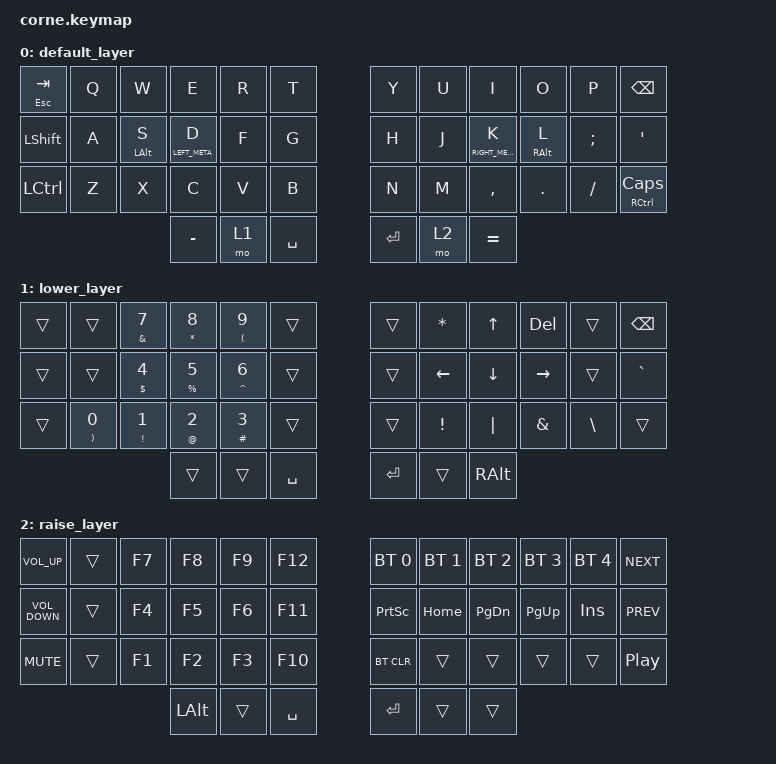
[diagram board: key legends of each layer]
/*
 * Copyright (c) 2020 The ZMK Contributors
 *
 * SPDX-License-Identifier: MIT
 */

#include <behaviors.dtsi>
#include <dt-bindings/zmk/bt.h>
#include <dt-bindings/zmk/keys.h>

/ {
    behaviors {
        HML: HML {
            compatible = "zmk,behavior-hold-tap";
            label = "HML";
            bindings = <&kp>, <&kp>;

            #binding-cells = <2>;
            tapping-term-ms = <200>;
            quick-tap-ms = <175>;
            flavor = "tap-preferred";
            hold-trigger-key-positions = <5 17 29 28 16 4 3 15 27 26 14 2 1 13 25 24 12 0 36 37 38 39 40 41>;
            hold-trigger-on-release;
        };

        HMR: HMR {
            compatible = "zmk,behavior-hold-tap";
            label = "HMR";
            bindings = <&kp>, <&kp>;

            #binding-cells = <2>;
            tapping-term-ms = <200>;
            quick-tap-ms = <175>;
            flavor = "tap-preferred";
            hold-trigger-on-release;
            hold-trigger-key-positions = <36 37 38 39 40 41 30 18 6 7 31 19 8 20 32 9 21 33 10 22 34 11 23 35>;
        };
    };

    combos {
        compatible = "zmk,combos";

        rbracecombo {
            bindings = <&kp RIGHT_BRACE>;
            key-positions = <19 18>;
        };

        lbracecombo {
            bindings = <&kp LEFT_BRACE>;
            key-positions = <16 17>;
        };

        rparencombo {
            bindings = <&kp RIGHT_PARENTHESIS>;
            key-positions = <7 19>;
        };

        lparancombo {
            bindings = <&kp LEFT_PARENTHESIS>;
            key-positions = <4 16>;
        };

        rbracketcombo {
            bindings = <&kp RIGHT_BRACKET>;
            key-positions = <31 19>;
        };

        lbracketcombo {
            bindings = <&kp LEFT_BRACKET>;
            key-positions = <28 16>;
        };
    };

    keymap {
        compatible = "zmk,keymap";

        default_layer {
            // -----------------------------------------------------------------------------------------
            // |  TAB |  Q  |  W  |  E  |  R  |  T  |   |  Y  |  U   |  I  |  O  |  P  | BSPC |
            // | CTRL |  A  |  S  |  D  |  F  |  G  |   |  H  |  J   |  K  |  L  |  ;  |  '   |
            // | SHFT |  Z  |  X  |  C  |  V  |  B  |   |  N  |  M   |  ,  |  .  |  /  | ESC  |
            //                    | GUI | LWR | SPC |   | ENT | RSE  | ALT |

            bindings = <
&HML ESCAPE TAB   &kp Q  &kp W            &kp E             &kp R  &kp T        &kp Y    &kp U  &kp I              &kp O             &kp P     &kp BSPC
&kp LEFT_SHIFT    &kp A  &HML LEFT_ALT S  &HML LEFT_META D  &kp F  &kp G        &kp H    &kp J  &HMR RIGHT_META K  &HMR RIGHT_ALT L  &kp SEMI  &kp SQT
&kp LEFT_CONTROL  &kp Z  &kp X            &kp C             &kp V  &kp B        &kp N    &kp M  &kp COMMA          &kp DOT           &kp FSLH  &HMR RIGHT_CONTROL CAPSLOCK
                                          &kp MINUS         &mo 1  &kp SPACE    &kp RET  &mo 2  &kp EQUAL
            >;
        };

        lower_layer {
            // -----------------------------------------------------------------------------------------
            // |  TAB |  1  |  2  |  3  |  4  |  5  |   |  6  |  7  |  8  |  9  |  0  | BSPC |
            // | BTCLR| BT1 | BT2 | BT3 | BT4 | BT5 |   | LFT | DWN |  UP | RGT |     |      |
            // | SHFT |     |     |     |     |     |   |     |     |     |     |     |      |
            //                    | GUI |     | SPC |   | ENT |     | ALT |

            bindings = <
&trans  &trans                           &HML AMPERSAND NUMBER_7    &HML ASTERISK NUMBER_8  &HML LEFT_PARENTHESIS NUMBER_9  &trans       &trans   &kp ASTERISK     &kp UP_ARROW    &kp DELETE       &trans         &kp BSPC
&trans  &trans                           &HML DOLLAR NUMBER_4       &HML PERCENT NUMBER_5   &HML CARET NUMBER_6             &trans       &trans   &kp LEFT_ARROW   &kp DOWN_ARROW  &kp RIGHT_ARROW  &trans         &kp GRAVE
&trans  &HML RIGHT_PARENTHESIS NUMBER_0  &HML EXCLAMATION NUMBER_1  &HML AT NUMBER_2        &HML HASH NUMBER_3              &trans       &trans   &kp EXCLAMATION  &kp PIPE        &kp AMPERSAND    &kp BACKSLASH  &trans
                                                                    &trans                  &trans                          &kp SPACE    &kp RET  &trans           &kp RALT
            >;
        };

        raise_layer {
            // -----------------------------------------------------------------------------------------
            // |  TAB |  !  |  @  |  #  |  $  |  %  |   |  ^  |  &  |  *  |  (  |  )  | BSPC |
            // | CTRL |     |     |     |     |     |   |  -  |  =  |  [  |  ]  |  \  |  `   |
            // | SHFT |     |     |     |     |     |   |  _  |  +  |  {  |  }  | "|" |  ~   |
            //                    | GUI |     | SPC |   | ENT |     | ALT |

            bindings = <
&kp C_VOLUME_UP    &trans  &kp F7  &kp F8        &kp F9  &kp F12      &bt BT_SEL 0     &bt BT_SEL 1  &bt BT_SEL 2   &bt BT_SEL 3  &bt BT_SEL 4  &kp C_NEXT
&kp C_VOLUME_DOWN  &trans  &kp F4  &kp F5        &kp F6  &kp F11      &kp PRINTSCREEN  &kp HOME      &kp PAGE_DOWN  &kp PAGE_UP   &kp INSERT    &kp C_PREV
&kp K_MUTE         &trans  &kp F1  &kp F2        &kp F3  &kp F10      &bt BT_CLR       &trans        &trans         &trans        &trans        &kp C_PLAY_PAUSE
                                   &kp LEFT_ALT  &trans  &kp SPACE    &kp RET          &trans        &trans
            >;
        };
    };
};
